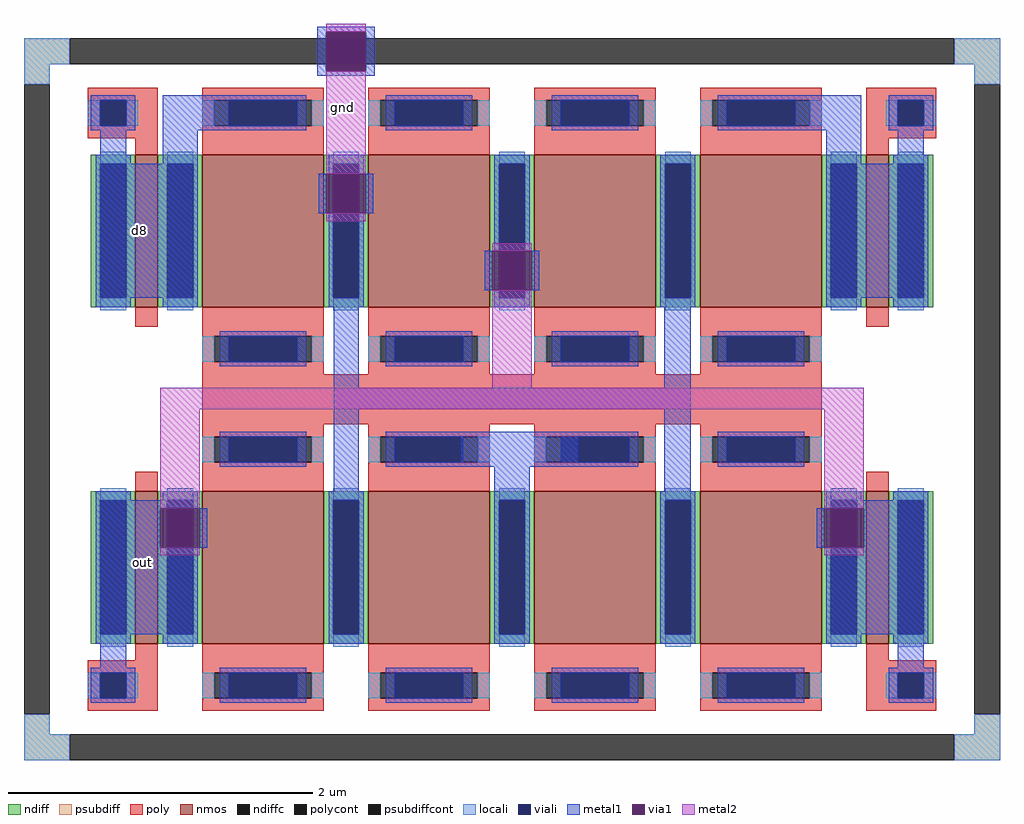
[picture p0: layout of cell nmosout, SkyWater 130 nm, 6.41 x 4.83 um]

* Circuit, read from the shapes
.subckt nmosout gnd d8 out
XM1 out out out gnd sky130_fd_pr__nfet_01v8 w=1 l=0.15 m=2
XM2 d8 d8 d8 gnd sky130_fd_pr__nfet_01v8 w=1 l=0.15 m=2
XM3 gnd d8 out gnd sky130_fd_pr__nfet_01v8 w=1 l=0.8 m=4
XM4 gnd d8 d8 gnd sky130_fd_pr__nfet_01v8 w=1 l=0.8 m=4
.ends

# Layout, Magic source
magic
tech sky130A
magscale 1 2
<< psubdiff >>
rect -176 407 -116 441
rect 1046 407 1106 441
rect -176 381 -142 407
rect 1072 381 1106 407
rect -176 -473 -142 -447
rect 1072 -473 1106 -447
rect -176 -507 -116 -473
rect 1046 -507 1106 -473
<< psubdiffcont >>
rect -116 407 1046 441
rect -176 -447 -142 381
rect 1072 -447 1106 381
rect -116 -507 1046 -473
<< poly >>
rect -92 360 0 376
rect -92 326 -76 360
rect -42 326 0 360
rect -92 310 0 326
rect -30 294 0 310
rect 930 360 1022 376
rect 930 326 972 360
rect 1006 326 1022 360
rect 930 310 1022 326
rect 930 296 958 310
rect 58 -66 872 0
rect -30 -376 0 -362
rect -92 -392 0 -376
rect -92 -426 -76 -392
rect -42 -426 0 -392
rect -92 -442 0 -426
rect 930 -376 960 -365
rect 930 -392 1022 -376
rect 930 -426 972 -392
rect 1006 -426 1022 -392
rect 930 -442 1022 -426
<< polycont >>
rect -76 326 -42 360
rect 972 326 1006 360
rect -76 -426 -42 -392
rect 972 -426 1006 -392
<< locali >>
rect -176 407 -116 441
rect 1046 407 1106 441
rect -176 381 -142 407
rect 1072 381 1106 407
rect -92 326 -76 360
rect -42 326 -26 360
rect 956 326 972 360
rect 1006 326 1022 360
rect -92 -426 -76 -392
rect -42 -426 -26 -392
rect 956 -426 972 -392
rect 1006 -426 1022 -392
rect -176 -473 -142 -447
rect 1072 -473 1106 -447
rect -176 -507 -116 -473
rect 1046 -507 1106 -473
<< viali >>
rect 221 441 273 450
rect 221 407 273 441
rect 221 398 273 407
rect -76 326 -42 360
rect 972 326 1006 360
rect -76 -426 -42 -392
rect 972 -426 1006 -392
<< metal1 >>
rect 209 450 285 456
rect 209 398 221 450
rect 273 398 285 450
rect 209 392 285 398
rect -88 360 -30 366
rect -88 326 -76 360
rect -42 326 -30 360
rect -88 320 -30 326
rect 6 320 84 366
rect 845 320 924 366
rect 960 360 1018 366
rect 960 326 972 360
rect 1006 326 1018 360
rect 960 320 1018 326
rect -76 276 -42 320
rect 6 277 52 320
rect 878 276 924 320
rect 972 276 1006 320
rect -76 100 46 276
rect 878 269 1006 276
rect 211 211 221 263
rect 273 211 283 263
rect 429 110 439 162
rect 491 110 501 162
rect 884 100 1006 269
rect 231 -18 264 91
rect 665 -18 700 90
rect 231 -46 700 -18
rect 231 -158 264 -46
rect 398 -122 552 -76
rect 442 -154 488 -122
rect 665 -163 700 -46
rect -76 -176 46 -166
rect 884 -176 1006 -166
rect -76 -228 3 -176
rect 55 -228 65 -176
rect 865 -228 875 -176
rect 927 -228 1006 -176
rect -76 -342 46 -228
rect 884 -342 1006 -228
rect -76 -386 -42 -345
rect 972 -386 1006 -346
rect -88 -392 -30 -386
rect -88 -426 -76 -392
rect -42 -426 -30 -392
rect -88 -432 -30 -426
rect 960 -392 1018 -386
rect 960 -426 972 -392
rect 1006 -426 1018 -392
rect 960 -432 1018 -426
<< via1 >>
rect 221 398 273 450
rect 221 211 273 263
rect 439 110 491 162
rect 3 -228 55 -176
rect 875 -228 927 -176
<< metal2 >>
rect 221 450 273 460
rect 221 263 273 398
rect 221 201 273 211
rect 439 162 491 172
rect 439 -18 491 110
rect 3 -46 927 -18
rect 3 -176 55 -46
rect 3 -238 55 -228
rect 875 -176 927 -46
rect 875 -238 927 -228
use sky130_fd_pr__nfet_01v8_6H9P4D  sky130_fd_pr__nfet_01v8_6H9P4D_0
transform 1 0 945 0 1 188
box -73 -126 73 126
use sky130_fd_pr__nfet_01v8_6H9P4D  sky130_fd_pr__nfet_01v8_6H9P4D_1
transform 1 0 -15 0 1 188
box -73 -126 73 126
use sky130_fd_pr__nfet_01v8_6H9P4D  sky130_fd_pr__nfet_01v8_6H9P4D_2
transform 1 0 -15 0 1 -254
box -73 -126 73 126
use sky130_fd_pr__nfet_01v8_6H9P4D  sky130_fd_pr__nfet_01v8_6H9P4D_3
transform 1 0 945 0 1 -254
box -73 -126 73 126
use sky130_fd_pr__nfet_01v8_DXNGNZ  sky130_fd_pr__nfet_01v8_DXNGNZ_0
transform 1 0 465 0 1 188
box -465 -188 465 188
use sky130_fd_pr__nfet_01v8_DXNGNZ  sky130_fd_pr__nfet_01v8_DXNGNZ_1
transform 1 0 465 0 1 -254
box -465 -188 465 188
<< labels >>
flabel metal2 242 350 242 350 0 FreeSans 800 0 0 0 gnd
port 0 nsew
flabel metal1 -24 188 -24 188 0 FreeSans 800 0 0 0 d8
port 1 nsew
flabel metal1 -20 -248 -20 -248 0 FreeSans 800 0 0 0 out
port 2 nsew
<< end >>

# cell sky130_fd_pr__nfet_01v8_6H9P4D: kit device sky130_fd_pr__nfet_01v8, w 1 l 0.150 m 1 nf 1 diffcov 100 polycov 100 guard 0 glc 1 grc 1 gtc 1 gbc 1 tbcov 100 rlcov 100 topc 0 botc 0 poverlap 0 doverlap 1 lmin 0.15 wmin 0.42 compatible {sky130_fd_pr__nfet_01v8 sky130_fd_pr__nfet_01v8_lvt sky130_fd_bs_flash__special_sonosfet_star sky130_fd_pr__nfet_g5v0d10v5 sky130_fd_pr__nfet_05v0_nvt sky130_fd_pr__nfet_03v3_nvt} full_metal 1 viasrc 100 viadrn 100 viagate 100 viagb 0 viagr 0 viagl 0 viagt 0

# cell sky130_fd_pr__nfet_01v8_DXNGNZ: kit device sky130_fd_pr__nfet_01v8, w 1 l 0.8 m 1 nf 4 diffcov 100 polycov 100 guard 0 glc 1 grc 1 gtc 1 gbc 1 tbcov 100 rlcov 100 topc 1 botc 1 poverlap 0 doverlap 1 lmin 0.15 wmin 0.42 compatible {sky130_fd_pr__nfet_01v8 sky130_fd_pr__nfet_01v8_lvt sky130_fd_bs_flash__special_sonosfet_star sky130_fd_pr__nfet_g5v0d10v5 sky130_fd_pr__nfet_05v0_nvt sky130_fd_pr__nfet_03v3_nvt} full_metal 1 viasrc 100 viadrn 100 viagate 70 viagb 0 viagr 0 viagl 0 viagt 0
